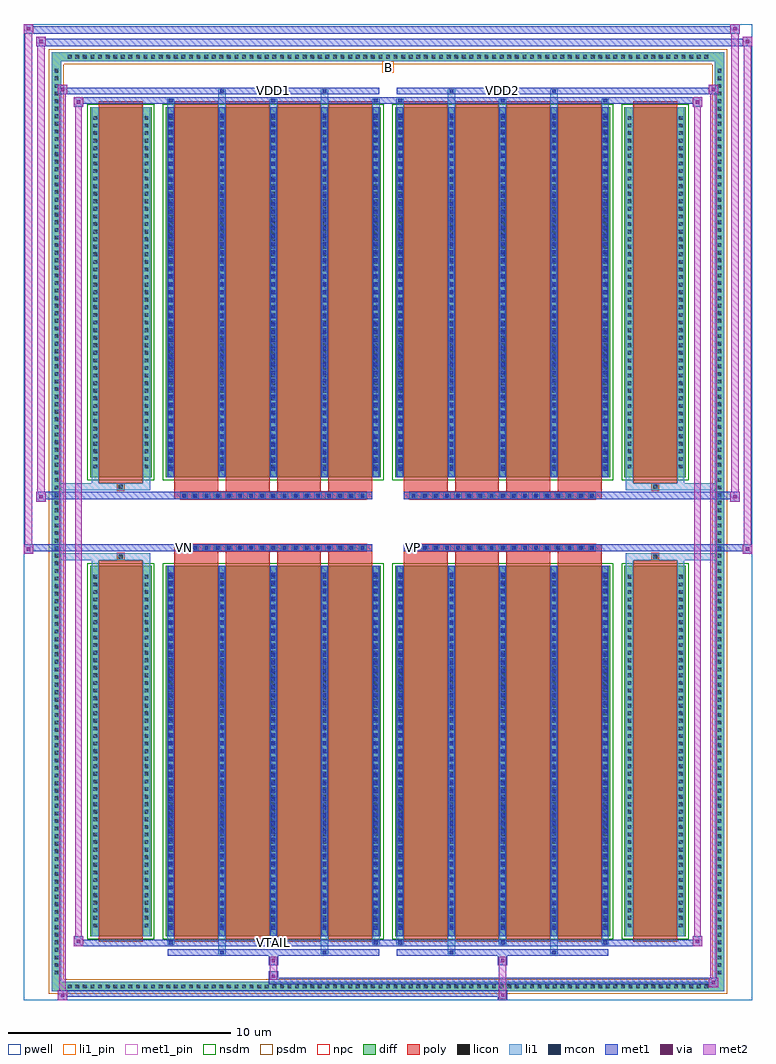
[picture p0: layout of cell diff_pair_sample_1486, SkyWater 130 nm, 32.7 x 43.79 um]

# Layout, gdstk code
import gdstk
lib = gdstk.Library(unit=1e-6, precision=5e-09)
def R(c, l, rs):  # rectangles x0, y0, x1, y1
    for r in rs: c.add(gdstk.rectangle(r[:2], r[2:], *l))
def A(c, l, x, y, w, h, nx, ny, dx, dy):  # array of equal rectangles
    R(c, l, [(x+i*dx, y+j*dy, x+i*dx+w, y+j*dy+h) for i in range(nx) for j in range(ny)])
def P(c, l, *ps):  # polygons
    for p in ps: c.add(gdstk.Polygon(p, *l))
pwell = (64, 44)
diff = (65, 20)
poly = (66, 20)
licon = (66, 44)
li1_pin = (67, 16)
li1 = (67, 20)
mcon = (67, 44)
met1_pin = (68, 16)
met1 = (68, 20)
via = (68, 44)
met2 = (69, 20)
nsdm = (93, 44)
psdm = (94, 20)
npc = (95, 20)

diff_pair_sample_1486 = lib.new_cell('diff_pair_sample_1486')
R(diff_pair_sample_1486, pwell, [(-16.35,-21.46,16.35,22.33), (-13.67,-19.65,-0.01,-0.805), (0.01,-19.65,13.67,-0.805), (-13.67,0.805,-0.01,19.65), (0.01,0.805,13.67,19.65)])
A(diff_pair_sample_1486, diff, -14.485, -21.06, 0.41, 0.41, 85, 2, 0.34, 41.71)
A(diff_pair_sample_1486, diff, -15.08, -20.435, 0.41, 0.41, 1, 120, 0, 0.34)
A(diff_pair_sample_1486, diff, 14.67, -20.435, 0.41, 0.41, 1, 120, 0, 0.34)
R(diff_pair_sample_1486, diff, [(-14.485,-21.06,14.485,-20.65), (-15.08,-20.435,-14.67,20.435), (14.67,-20.435,15.08,20.435), (-13.36,-18.605,-10.61,-1.985), (-9.97,-18.605,-0.32,-1.985), (0.32,-18.605,9.97,-1.985), (10.61,-18.605,13.36,-1.985), (-13.36,1.985,-10.61,18.605), (-9.97,1.985,-0.32,18.605), (0.32,1.985,9.97,18.605), (10.61,1.985,13.36,18.605), (-14.485,20.65,14.485,21.06)])
P(diff_pair_sample_1486, diff, [(15.08,21.06),(-15.08,21.06),(-15.08,-20.65),(-14.67,-20.65),(-14.67,20.65),(14.67,20.65),(14.67,-20.65),(-14.67,-20.65),(-15.08,-20.65),(-15.08,-21.06),(15.08,-21.06)])
A(diff_pair_sample_1486, poly, -9.58, -18.855, 1.97, 17.12, 4, 2, 2.3, 20.59)
A(diff_pair_sample_1486, poly, 0.71, -18.855, 1.97, 17.12, 4, 2, 2.3, 20.59)
A(diff_pair_sample_1486, poly, -9.58, -1.735, 1.97, 0.4, 4, 2, 2.3, 3.07)
A(diff_pair_sample_1486, poly, 0.71, -1.735, 1.97, 0.4, 4, 2, 2.3, 3.07)
A(diff_pair_sample_1486, poly, -9.31, -1.335, 0.33, 0.33, 17, 2, 0.5, 2.34)
A(diff_pair_sample_1486, poly, 0.98, -1.335, 0.33, 0.33, 17, 2, 0.5, 2.34)
R(diff_pair_sample_1486, poly, [(-12.97,-18.855,-11,-1.735), (11,-18.855,12.97,-1.735), (-12.15,-1.735,-11.82,-1.405), (-12.15,-1.735,-11.82,-1.405), (11.82,-1.735,12.15,-1.405), (11.82,-1.735,12.15,-1.405), (-9.58,-1.335,-0.71,-1.005), (0.71,-1.335,9.58,-1.005), (-9.58,1.005,-0.71,1.335), (0.71,1.005,9.58,1.335), (-12.15,1.405,-11.82,1.735), (-12.15,1.405,-11.82,1.735), (11.82,1.405,12.15,1.735), (11.82,1.405,12.15,1.735), (-12.97,1.735,-11,18.855), (11,1.735,12.97,18.855)])
A(diff_pair_sample_1486, licon, -14.365, -20.94, 0.17, 0.17, 85, 2, 0.34, 41.71)
A(diff_pair_sample_1486, licon, -14.96, -20.315, 0.17, 0.17, 1, 120, 0, 0.34)
A(diff_pair_sample_1486, licon, 14.79, -20.315, 0.17, 0.17, 1, 120, 0, 0.34)
A(diff_pair_sample_1486, licon, -13.22, -18.2, 0.17, 0.17, 1, 47, 0, 0.34)
A(diff_pair_sample_1486, licon, -10.92, -18.2, 0.17, 0.17, 1, 47, 0, 0.34)
A(diff_pair_sample_1486, licon, -9.83, -18.2, 0.17, 0.17, 5, 47, 2.3, 0.34)
A(diff_pair_sample_1486, licon, 0.46, -18.2, 0.17, 0.17, 5, 47, 2.3, 0.34)
A(diff_pair_sample_1486, licon, 10.75, -18.2, 0.17, 0.17, 1, 47, 0, 0.34)
A(diff_pair_sample_1486, licon, 13.05, -18.2, 0.17, 0.17, 1, 47, 0, 0.34)
A(diff_pair_sample_1486, licon, -9.23, -1.255, 0.17, 0.17, 17, 2, 0.5, 2.34)
A(diff_pair_sample_1486, licon, 1.06, -1.255, 0.17, 0.17, 17, 2, 0.5, 2.34)
A(diff_pair_sample_1486, licon, -13.22, 2.39, 0.17, 0.17, 1, 47, 0, 0.34)
A(diff_pair_sample_1486, licon, -10.92, 2.39, 0.17, 0.17, 1, 47, 0, 0.34)
A(diff_pair_sample_1486, licon, -9.83, 2.39, 0.17, 0.17, 5, 47, 2.3, 0.34)
A(diff_pair_sample_1486, licon, 0.46, 2.39, 0.17, 0.17, 5, 47, 2.3, 0.34)
A(diff_pair_sample_1486, licon, 10.75, 2.39, 0.17, 0.17, 1, 47, 0, 0.34)
A(diff_pair_sample_1486, licon, 13.05, 2.39, 0.17, 0.17, 1, 47, 0, 0.34)
R(diff_pair_sample_1486, licon, [(-12.07,-1.655,-11.9,-1.485), (11.9,-1.655,12.07,-1.485), (-12.07,1.485,-11.9,1.655), (11.9,1.485,12.07,1.655)])
R(diff_pair_sample_1486, li1_pin, [(-0.25,20.15,0.25,20.65)])
A(diff_pair_sample_1486, li1, -14.445, -21.02, 0.33, 0.33, 85, 2, 0.34, 41.71)
A(diff_pair_sample_1486, li1, -15.04, -20.395, 0.33, 0.33, 1, 120, 0, 0.34)
A(diff_pair_sample_1486, li1, 14.71, -20.395, 0.33, 0.33, 1, 120, 0, 0.34)
A(diff_pair_sample_1486, li1, -9.91, -18.98, 0.33, 0.375, 3, 2, 4.6, 37.585)
A(diff_pair_sample_1486, li1, -9.83, -18.98, 0.17, 0.17, 3, 2, 4.6, 37.79)
A(diff_pair_sample_1486, li1, 0.38, -18.98, 0.33, 0.375, 3, 2, 4.6, 37.585)
A(diff_pair_sample_1486, li1, 0.46, -18.98, 0.17, 0.17, 3, 2, 4.6, 37.79)
A(diff_pair_sample_1486, li1, -9.91, -18.605, 0.33, 16.62, 5, 2, 2.3, 20.59)
A(diff_pair_sample_1486, li1, 0.38, -18.605, 0.33, 16.62, 5, 2, 2.3, 20.59)
A(diff_pair_sample_1486, li1, -9.83, -18.3, 0.17, 0.17, 5, 45, 2.3, 0.36)
A(diff_pair_sample_1486, li1, -9.83, -18.3, 0.17, 16.01, 5, 2, 2.3, 20.59)
A(diff_pair_sample_1486, li1, 0.46, -18.3, 0.17, 0.17, 5, 45, 2.3, 0.36)
A(diff_pair_sample_1486, li1, 0.46, -18.3, 0.17, 16.01, 5, 2, 2.3, 20.59)
A(diff_pair_sample_1486, li1, -13.3, -18.28, 0.33, 0.33, 1, 47, 0, 0.34)
A(diff_pair_sample_1486, li1, -11, -18.28, 0.33, 0.33, 1, 47, 0, 0.34)
A(diff_pair_sample_1486, li1, -9.91, -18.28, 0.33, 0.33, 5, 47, 2.3, 0.34)
A(diff_pair_sample_1486, li1, 0.38, -18.28, 0.33, 0.33, 5, 47, 2.3, 0.34)
A(diff_pair_sample_1486, li1, 10.67, -18.28, 0.33, 0.33, 1, 47, 0, 0.34)
A(diff_pair_sample_1486, li1, 12.97, -18.28, 0.33, 0.33, 1, 47, 0, 0.34)
A(diff_pair_sample_1486, li1, -9.31, -1.335, 0.33, 0.33, 17, 2, 0.5, 2.34)
A(diff_pair_sample_1486, li1, 0.98, -1.335, 0.33, 0.33, 17, 2, 0.5, 2.34)
A(diff_pair_sample_1486, li1, -9.83, 2.29, 0.17, 0.17, 5, 45, 2.3, 0.36)
A(diff_pair_sample_1486, li1, 0.46, 2.29, 0.17, 0.17, 5, 45, 2.3, 0.36)
A(diff_pair_sample_1486, li1, -13.3, 2.31, 0.33, 0.33, 1, 47, 0, 0.34)
A(diff_pair_sample_1486, li1, -11, 2.31, 0.33, 0.33, 1, 47, 0, 0.34)
A(diff_pair_sample_1486, li1, -9.91, 2.31, 0.33, 0.33, 5, 47, 2.3, 0.34)
A(diff_pair_sample_1486, li1, 0.38, 2.31, 0.33, 0.33, 5, 47, 2.3, 0.34)
A(diff_pair_sample_1486, li1, 10.67, 2.31, 0.33, 0.33, 1, 47, 0, 0.34)
A(diff_pair_sample_1486, li1, 12.97, 2.31, 0.33, 0.33, 1, 47, 0, 0.34)
R(diff_pair_sample_1486, li1, [(-15.08,-21.06,-14.67,-20.65), (-15.08,-21.06,-14.67,-20.65), (-14.67,-21.06,14.67,-20.65), (14.67,-21.06,15.08,-20.65), (14.67,-21.06,15.08,-20.65), (-15.08,-20.65,-14.67,20.65), (14.67,-20.65,15.08,20.65), (-7.61,-19.41,-7.28,-18.605), (-7.53,-19.41,-7.36,-19.24), (-3.01,-19.41,-2.68,-18.605), (-2.93,-19.41,-2.76,-19.24), (2.68,-19.41,3.01,-18.605), (2.76,-19.41,2.93,-19.24), (7.28,-19.41,7.61,-18.605), (7.36,-19.41,7.53,-19.24), (-13.3,-18.605,-12.97,-1.985), (-11,-18.605,-10.67,-1.985), (10.67,-18.605,11,-1.985), (12.97,-18.605,13.3,-1.985), (-13.3,-1.985,-12.97,-1.405), (-11,-1.985,-10.67,-1.405), (10.67,-1.985,11,-1.405), (12.97,-1.985,13.3,-1.405), (-15.08,-1.735,-12.15,-1.405), (-13.3,-1.735,-12.15,-1.405), (-12.15,-1.735,-11.82,-1.405), (-11.82,-1.735,-10.67,-1.405), (10.67,-1.735,11.82,-1.405), (11.82,-1.735,12.15,-1.405), (11.82,-1.735,15.08,-1.405), (12.15,-1.735,13.3,-1.405), (-15.08,1.405,-12.15,1.735), (-13.3,1.405,-12.15,1.735), (-13.3,1.405,-12.97,1.985), (-12.15,1.405,-11.82,1.735), (-11.82,1.405,-10.67,1.735), (-11,1.405,-10.67,1.985), (10.67,1.405,11.82,1.735), (10.67,1.405,11,1.985), (11.82,1.405,12.15,1.735), (11.82,1.405,15.08,1.735), (12.15,1.405,13.3,1.735), (12.97,1.405,13.3,1.985), (-13.3,1.985,-12.97,18.605), (-11,1.985,-10.67,18.605), (10.67,1.985,11,18.605), (12.97,1.985,13.3,18.605), (-7.61,18.605,-7.28,19.41), (-3.01,18.605,-2.68,19.41), (2.68,18.605,3.01,19.41), (7.28,18.605,7.61,19.41), (-7.53,19.24,-7.36,19.41), (-2.93,19.24,-2.76,19.41), (2.76,19.24,2.93,19.41), (7.36,19.24,7.53,19.41), (-15.08,20.65,-14.67,21.06), (-15.08,20.65,-14.67,21.06), (-14.67,20.65,14.67,21.06), (14.67,20.65,15.08,21.06), (14.67,20.65,15.08,21.06)])
A(diff_pair_sample_1486, mcon, -9.83, -18.98, 0.17, 0.17, 3, 2, 4.6, 37.79)
A(diff_pair_sample_1486, mcon, 0.46, -18.98, 0.17, 0.17, 3, 2, 4.6, 37.79)
A(diff_pair_sample_1486, mcon, -9.83, -18.3, 0.17, 0.17, 5, 45, 2.3, 0.36)
A(diff_pair_sample_1486, mcon, 0.46, -18.3, 0.17, 0.17, 5, 45, 2.3, 0.36)
A(diff_pair_sample_1486, mcon, -9.23, -1.255, 0.17, 0.17, 17, 2, 0.5, 2.34)
A(diff_pair_sample_1486, mcon, 1.06, -1.255, 0.17, 0.17, 17, 2, 0.5, 2.34)
A(diff_pair_sample_1486, mcon, -9.83, 2.29, 0.17, 0.17, 5, 45, 2.3, 0.36)
A(diff_pair_sample_1486, mcon, 0.46, 2.29, 0.17, 0.17, 5, 45, 2.3, 0.36)
R(diff_pair_sample_1486, mcon, [(-7.53,-19.41,-7.36,-19.24), (-2.93,-19.41,-2.76,-19.24), (2.76,-19.41,2.93,-19.24), (7.36,-19.41,7.53,-19.24), (-7.53,19.24,-7.36,19.41), (-2.93,19.24,-2.76,19.41), (2.76,19.24,2.93,19.41), (7.36,19.24,7.53,19.41)])
R(diff_pair_sample_1486, met1_pin, [(-5.28,-19.02,-5.01,-18.75), (-9.28,-1.295,-9.01,-1.025), (1.01,-1.295,1.28,-1.025), (-5.28,19.2,-5.01,19.47), (5.01,19.2,5.28,19.47)])
A(diff_pair_sample_1486, met1, -9.89, -19.04, 0.29, 0.29, 3, 2, 4.6, 37.79)
A(diff_pair_sample_1486, met1, 0.4, -19.04, 0.29, 0.29, 3, 2, 4.6, 37.79)
A(diff_pair_sample_1486, met1, -9.89, -18.605, 0.29, 16.62, 5, 2, 2.3, 20.59)
A(diff_pair_sample_1486, met1, 0.4, -18.605, 0.29, 16.62, 5, 2, 2.3, 20.59)
A(diff_pair_sample_1486, met1, -9.89, -18.36, 0.29, 0.29, 5, 45, 2.3, 0.36)
A(diff_pair_sample_1486, met1, 0.4, -18.36, 0.29, 0.29, 5, 45, 2.3, 0.36)
A(diff_pair_sample_1486, met1, -9.29, -1.315, 0.29, 0.29, 17, 2, 0.5, 2.34)
A(diff_pair_sample_1486, met1, 1, -1.315, 0.29, 0.29, 17, 2, 0.5, 2.34)
A(diff_pair_sample_1486, met1, -9.89, 2.23, 0.29, 0.29, 5, 45, 2.3, 0.36)
A(diff_pair_sample_1486, met1, 0.4, 2.23, 0.29, 0.29, 5, 45, 2.3, 0.36)
R(diff_pair_sample_1486, met1, [(-14.81,-21.46,-14.38,-21.03), (4.93,-21.46,5.36,-21.03), (-14.81,-21.32,5.36,-21.03), (14.38,-20.89,14.81,-20.46), (-5.36,-20.75,14.81,-20.46), (-5.36,-20.61,-4.93,-20.18), (-5.36,-19.9,-4.93,-19.47), (4.93,-19.9,5.36,-19.47), (-9.89,-19.47,-0.4,-19.18), (-7.59,-19.47,-7.3,-19.18), (-2.99,-19.47,-2.7,-19.18), (0.4,-19.47,9.89,-19.18), (2.7,-19.47,2.99,-19.18), (7.3,-19.47,7.59,-19.18), (-14.1,-19.04,-13.67,-18.61), (-14.1,-19.04,-9.89,-18.75), (-9.89,-19.04,-0.4,-18.75), (-0.4,-19.04,0.4,-18.75), (0.4,-19.04,9.89,-18.75), (9.89,-19.04,14.1,-18.75), (13.67,-19.04,14.1,-18.61), (-16.35,-1.435,-15.92,-1.005), (15.92,-1.435,16.35,-1.005), (-16.35,-1.335,-0.71,-1.005), (-9.58,-1.335,-0.71,-1.005), (0.71,-1.335,9.58,-1.005), (0.71,-1.335,16.35,-1.005), (-15.78,0.905,-15.35,1.335), (15.35,0.905,15.78,1.335), (-15.78,1.005,-9.58,1.335), (-9.58,1.005,-0.71,1.335), (0.71,1.005,9.58,1.335), (9.58,1.005,15.78,1.335), (-14.1,18.61,-13.67,19.04), (13.67,18.61,14.1,19.04), (-14.1,18.75,-9.89,19.04), (-9.89,18.75,-0.4,19.04), (-0.4,18.75,0.4,19.04), (0.4,18.75,9.89,19.04), (9.89,18.75,14.1,19.04), (-14.81,19.18,-14.38,19.61), (-14.81,19.18,-9.89,19.47), (-9.89,19.18,-0.4,19.47), (-7.59,19.18,-7.3,19.47), (-2.99,19.18,-2.7,19.47), (0.4,19.18,9.89,19.47), (2.7,19.18,2.99,19.47), (7.3,19.18,7.59,19.47), (9.89,19.18,14.81,19.47), (14.38,19.18,14.81,19.61), (-15.78,21.33,-15.35,21.76), (-15.78,21.33,-13.67,21.66), (-13.67,21.33,13.67,21.66), (13.67,21.33,16.35,21.66), (15.92,21.33,16.35,21.76), (-16.35,21.9,-15.92,22.33), (-16.35,21.9,-13.67,22.23), (-13.67,21.9,13.67,22.23), (13.67,21.9,15.78,22.23), (15.35,21.9,15.78,22.33)])
R(diff_pair_sample_1486, via, [(-14.67,-21.32,-14.52,-21.17), (5.07,-21.32,5.22,-21.17), (14.52,-20.75,14.67,-20.6), (-5.22,-20.47,-5.07,-20.32), (-5.22,-19.76,-5.07,-19.61), (5.07,-19.76,5.22,-19.61), (-13.96,-18.9,-13.81,-18.75), (13.81,-18.9,13.96,-18.75), (-16.21,-1.295,-16.06,-1.145), (16.06,-1.295,16.21,-1.145), (-15.64,1.045,-15.49,1.195), (15.49,1.045,15.64,1.195), (-13.96,18.75,-13.81,18.9), (13.81,18.75,13.96,18.9), (-14.67,19.32,-14.52,19.47), (14.52,19.32,14.67,19.47), (-15.64,21.47,-15.49,21.62), (16.06,21.47,16.21,21.62), (-16.21,22.04,-16.06,22.19), (15.49,22.04,15.64,22.19)])
R(diff_pair_sample_1486, met2, [(-14.81,-21.46,-14.38,-21.03), (-14.74,-21.46,-14.45,19.61), (-14.45,-21.46,-14.38,-21.03), (-14.76,-21.41,-14.43,-21.08), (4.98,-21.41,5.31,-21.08), (4.98,-21.08,5.31,-19.85), (14.38,-20.89,14.81,-20.46), (14.45,-20.89,14.74,19.61), (14.74,-20.89,14.81,-20.46), (14.43,-20.84,14.76,-20.51), (-5.31,-20.56,-4.98,-20.23), (-5.31,-20.23,-4.98,-19.85), (-5.31,-19.85,-4.98,-19.52), (4.98,-19.85,5.31,-19.52), (-14.1,-19.04,-13.67,-18.61), (-14.03,-19.04,-13.74,19.04), (-13.74,-19.04,-13.67,-18.61), (13.67,-19.04,14.1,-18.61), (13.74,-19.04,14.03,19.04), (14.03,-19.04,14.1,-18.61), (-14.05,-18.99,-13.72,-18.66), (13.72,-18.99,14.05,-18.66), (-16.35,-1.435,-15.92,-1.005), (-16.3,-1.435,-15.97,22.33), (-15.97,-1.435,-15.92,-1.005), (15.92,-1.435,16.35,-1.005), (15.97,-1.435,16.3,21.76), (16.3,-1.435,16.35,-1.005), (-16.3,-1.385,-15.97,-1.055), (15.97,-1.385,16.3,-1.055), (-15.78,0.905,-15.35,1.335), (-15.73,0.905,-15.4,21.76), (-15.4,0.905,-15.35,1.335), (15.35,0.905,15.78,1.335), (15.4,0.905,15.73,22.33), (15.73,0.905,15.78,1.335), (-15.73,0.955,-15.4,1.285), (15.4,0.955,15.73,1.285), (-14.1,18.61,-13.67,19.04), (-13.74,18.61,-13.67,19.04), (13.67,18.61,14.1,19.04), (14.03,18.61,14.1,19.04), (-14.05,18.66,-13.72,18.99), (13.72,18.66,14.05,18.99), (-14.81,19.18,-14.38,19.61), (-14.45,19.18,-14.38,19.61), (14.38,19.18,14.81,19.61), (14.74,19.18,14.81,19.61), (-14.76,19.23,-14.43,19.56), (14.43,19.23,14.76,19.56), (-15.78,21.33,-15.35,21.76), (-15.4,21.33,-15.35,21.76), (15.92,21.33,16.35,21.76), (16.3,21.33,16.35,21.76), (-15.73,21.38,-15.4,21.71), (15.97,21.38,16.3,21.71), (-16.35,21.9,-15.92,22.33), (-15.97,21.9,-15.92,22.33), (15.35,21.9,15.78,22.33), (15.73,21.9,15.78,22.33), (-16.3,21.95,-15.97,22.28), (15.4,21.95,15.73,22.28)])
R(diff_pair_sample_1486, nsdm, [(-13.49,-18.735,-10.48,-1.855), (-10.1,-18.735,-0.19,-1.855), (0.19,-18.735,10.1,-1.855), (10.48,-18.735,13.49,-1.855), (-13.49,1.855,-10.48,18.735), (-10.1,1.855,-0.19,18.735), (0.19,1.855,10.1,18.735), (10.48,1.855,13.49,18.735)])
P(diff_pair_sample_1486, psdm, [(15.21,21.19),(-15.21,21.19),(-15.21,-20.52),(-14.54,-20.52),(-14.54,20.52),(14.54,20.52),(14.54,-20.52),(-14.54,-20.52),(-15.21,-20.52),(-15.21,-21.19),(15.21,-21.19)])
A(diff_pair_sample_1486, npc, -9.33, -1.355, 0.37, 0.37, 17, 2, 0.5, 2.34)
A(diff_pair_sample_1486, npc, 0.96, -1.355, 0.37, 0.37, 17, 2, 0.5, 2.34)
R(diff_pair_sample_1486, npc, [(-12.17,-1.755,-11.8,-1.385), (11.8,-1.755,12.17,-1.385), (-9.33,-1.355,-8.46,-0.985), (-9.33,-1.355,-8.46,-0.985), (-8.83,-1.355,-7.96,-0.985), (-8.83,-1.355,-7.96,-0.985), (-8.33,-1.355,-7.46,-0.985), (-8.33,-1.355,-7.46,-0.985), (-7.83,-1.355,-6.96,-0.985), (-7.83,-1.355,-6.96,-0.985), (-7.33,-1.355,-6.46,-0.985), (-7.33,-1.355,-6.46,-0.985), (-6.83,-1.355,-5.96,-0.985), (-6.83,-1.355,-5.96,-0.985), (-6.33,-1.355,-5.46,-0.985), (-6.33,-1.355,-5.46,-0.985), (-5.83,-1.355,-4.96,-0.985), (-5.83,-1.355,-4.96,-0.985), (-5.33,-1.355,-4.46,-0.985), (-5.33,-1.355,-4.46,-0.985), (-4.83,-1.355,-3.96,-0.985), (-4.83,-1.355,-3.96,-0.985), (-4.33,-1.355,-3.46,-0.985), (-4.33,-1.355,-3.46,-0.985), (-3.83,-1.355,-2.96,-0.985), (-3.83,-1.355,-2.96,-0.985), (-3.33,-1.355,-2.46,-0.985), (-3.33,-1.355,-2.46,-0.985), (-2.83,-1.355,-1.96,-0.985), (-2.83,-1.355,-1.96,-0.985), (-2.33,-1.355,-1.46,-0.985), (-2.33,-1.355,-1.46,-0.985), (-1.83,-1.355,-0.96,-0.985), (-1.83,-1.355,-0.96,-0.985), (0.96,-1.355,1.83,-0.985), (0.96,-1.355,1.83,-0.985), (1.46,-1.355,2.33,-0.985), (1.46,-1.355,2.33,-0.985), (1.96,-1.355,2.83,-0.985), (1.96,-1.355,2.83,-0.985), (2.46,-1.355,3.33,-0.985), (2.46,-1.355,3.33,-0.985), (2.96,-1.355,3.83,-0.985), (2.96,-1.355,3.83,-0.985), (3.46,-1.355,4.33,-0.985), (3.46,-1.355,4.33,-0.985), (3.96,-1.355,4.83,-0.985), (3.96,-1.355,4.83,-0.985), (4.46,-1.355,5.33,-0.985), (4.46,-1.355,5.33,-0.985), (4.96,-1.355,5.83,-0.985), (4.96,-1.355,5.83,-0.985), (5.46,-1.355,6.33,-0.985), (5.46,-1.355,6.33,-0.985), (5.96,-1.355,6.83,-0.985), (5.96,-1.355,6.83,-0.985), (6.46,-1.355,7.33,-0.985), (6.46,-1.355,7.33,-0.985), (6.96,-1.355,7.83,-0.985), (6.96,-1.355,7.83,-0.985), (7.46,-1.355,8.33,-0.985), (7.46,-1.355,8.33,-0.985), (7.96,-1.355,8.83,-0.985), (7.96,-1.355,8.83,-0.985), (8.46,-1.355,9.33,-0.985), (8.46,-1.355,9.33,-0.985), (-9.33,0.985,-8.46,1.355), (-9.33,0.985,-8.46,1.355), (-8.83,0.985,-7.96,1.355), (-8.83,0.985,-7.96,1.355), (-8.33,0.985,-7.46,1.355), (-8.33,0.985,-7.46,1.355), (-7.83,0.985,-6.96,1.355), (-7.83,0.985,-6.96,1.355), (-7.33,0.985,-6.46,1.355), (-7.33,0.985,-6.46,1.355), (-6.83,0.985,-5.96,1.355), (-6.83,0.985,-5.96,1.355), (-6.33,0.985,-5.46,1.355), (-6.33,0.985,-5.46,1.355), (-5.83,0.985,-4.96,1.355), (-5.83,0.985,-4.96,1.355), (-5.33,0.985,-4.46,1.355), (-5.33,0.985,-4.46,1.355), (-4.83,0.985,-3.96,1.355), (-4.83,0.985,-3.96,1.355), (-4.33,0.985,-3.46,1.355), (-4.33,0.985,-3.46,1.355), (-3.83,0.985,-2.96,1.355), (-3.83,0.985,-2.96,1.355), (-3.33,0.985,-2.46,1.355), (-3.33,0.985,-2.46,1.355), (-2.83,0.985,-1.96,1.355), (-2.83,0.985,-1.96,1.355), (-2.33,0.985,-1.46,1.355), (-2.33,0.985,-1.46,1.355), (-1.83,0.985,-0.96,1.355), (-1.83,0.985,-0.96,1.355), (0.96,0.985,1.83,1.355), (0.96,0.985,1.83,1.355), (1.46,0.985,2.33,1.355), (1.46,0.985,2.33,1.355), (1.96,0.985,2.83,1.355), (1.96,0.985,2.83,1.355), (2.46,0.985,3.33,1.355), (2.46,0.985,3.33,1.355), (2.96,0.985,3.83,1.355), (2.96,0.985,3.83,1.355), (3.46,0.985,4.33,1.355), (3.46,0.985,4.33,1.355), (3.96,0.985,4.83,1.355), (3.96,0.985,4.83,1.355), (4.46,0.985,5.33,1.355), (4.46,0.985,5.33,1.355), (4.96,0.985,5.83,1.355), (4.96,0.985,5.83,1.355), (5.46,0.985,6.33,1.355), (5.46,0.985,6.33,1.355), (5.96,0.985,6.83,1.355), (5.96,0.985,6.83,1.355), (6.46,0.985,7.33,1.355), (6.46,0.985,7.33,1.355), (6.96,0.985,7.83,1.355), (6.96,0.985,7.83,1.355), (7.46,0.985,8.33,1.355), (7.46,0.985,8.33,1.355), (7.96,0.985,8.83,1.355), (7.96,0.985,8.83,1.355), (8.46,0.985,9.33,1.355), (8.46,0.985,9.33,1.355), (-12.17,1.385,-11.8,1.755), (11.8,1.385,12.17,1.755)])
diff_pair_sample_1486.add(gdstk.Label('VTAIL', (-5.145,-18.885), layer=68, texttype=5))
diff_pair_sample_1486.add(gdstk.Label('VN', (-9.145,-1.16), layer=68, texttype=5))
diff_pair_sample_1486.add(gdstk.Label('VP', (1.145,-1.16), layer=68, texttype=5))
diff_pair_sample_1486.add(gdstk.Label('B', (0,20.4), layer=67, texttype=5))
diff_pair_sample_1486.add(gdstk.Label('VDD2', (5.145,19.335), layer=68, texttype=5))
diff_pair_sample_1486.add(gdstk.Label('VDD1', (-5.145,19.335), layer=68, texttype=5))

lib.write_gds('diff_pair_sample_1486.gds')
